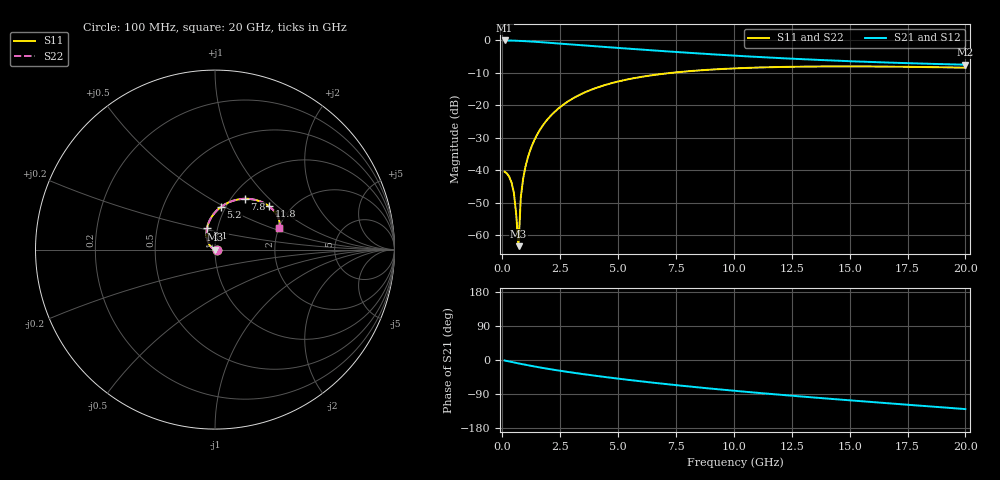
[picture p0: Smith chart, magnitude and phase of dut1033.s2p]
! Touchstone file exported from HFSS 2024.1.0
!  File:  C:/UserFiles/LocalFiles/RDL_TSV_Batchsim/temp_RDL_TSV_1033_1780083924.aedt
!  Generated:  04:00:32 AM May 30, 2026
!  Design:  RDL_TSV
!  Project:  temp_RDL_TSV_1033_1780083924
!  Setup:  Setup1
!  Solution:  Sweep
! Variables:
!  dtsv = 8.5um
!  hbump = 3um
!  htsv = 96.64um
!  ldown = 303.61um
!  lrdl = 112.91um
!  p = 40
!  p1 = 59.9um
!  rhole = 10um
!  subl = 1362.47um
!  t = 450um
!  tdown = 4.18um
!  trdl = 4.81um
!  viad = 10um
!  wdown = 11.86um
!  wrdl = 16.14um
!  xbump = 18um
# GHz S MA R 50.000000
! Terminal data exported
! Port[1] = TM1_1_T1
! Port[2] = TM1_4_T1
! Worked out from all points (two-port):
!   200 points, 100 MHz to 20 GHz, reference 50 ohm
!   highest |S21| = -0.09 dB at 100 MHz (marker M1); lowest = -7.5 dB at 20 GHz (marker M2)
!   |S21| within 3 dB of the highest: start of sweep to 6.391 GHz
!   lowest |S11| = -63.3 dB at 700 MHz (marker M3), VSWR 1.00, Z = 49.9 + j0.0186 ohm
!   |S11| at or under -10 dB: start of sweep to 7.361 GHz
!   |S22| runs from -63.4 to -8.1 dB; largest |S21 - S12| = 8.6e-15
!   S11 on the Smith chart (normalised r, x): 100 MHz: 1.02, -0.00; 3.1 GHz: 0.89, +0.22; 5.2 GHz: 0.95, +0.48; 7.8 GHz: 1.15, +0.73; 11.8 GHz: 1.56, +0.88; 20 GHz: 2.01, +0.56
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0.1  0.009512 -1.9  0.99 -1.3  0.99 -1.3  0.009512 -1.9
! Gamma 0 0 0 0
! Port Impedance 50 0 50 0
0.3  0.007936 -6.6  0.9875 -3.9  0.9875 -3.9  0.007937 -6.6
0.5  0.004515 -12.2  0.9831 -6.5  0.9831 -6.5  0.004517 -12.2
0.6  0.002127 -15.3  0.9803 -7.7  0.9803 -7.7  0.00213 -15.3
0.7  0.0006823 164.2  0.9771 -9.0  0.9771 -9.0  0.0006788 164.2
0.8  0.003886 159.9  0.9735 -10.2  0.9735 -10.2  0.003881 159.9
0.9  0.007457 157.0  0.9696 -11.4  0.9696 -11.4  0.007451 157.1
1  0.01137 154.3  0.9653 -12.6  0.9653 -12.6  0.01136 154.3
1.2  0.02011 149.0  0.9561 -15.0  0.9561 -15.0  0.0201 149.0
1.5  0.0351 141.6  0.9408 -18.3  0.9408 -18.3  0.03508 141.6
1.9  0.05755 132.4  0.919 -22.6  0.919 -22.6  0.05753 132.4
2.4  0.08769 122.1  0.8909 -27.5  0.8909 -27.5  0.08765 122.1
3.1  0.1304 109.6  0.8528 -33.9  0.8528 -33.9  0.1303 109.6
3.5  0.1539 103.4  0.8319 -37.3  0.8319 -37.3  0.1538 103.4
5.2  0.2404 82.0  0.751 -50.6  0.751 -50.6  0.2403 82.0
6.8  0.2999 67.3  0.6848 -61.8  0.6848 -61.8  0.2998 67.2
7.8  0.3275 59.8  0.648 -68.2  0.648 -68.2  0.3274 59.8
10.1  0.3694 46.4  0.5765 -81.7  0.5765 -81.7  0.3693 46.4
11.8  0.386 38.8  0.5343 -90.7  0.5343 -90.7  0.3857 38.8
13.4  0.3936 32.9  0.5018 -98.7  0.5018 -98.7  0.3933 32.9
16.7  0.3924 24.0  0.4523 -114.4  0.4523 -114.4  0.3921 24.0
20  0.3773 18.6  0.4201 -129.5  0.4201 -129.5  0.3769 18.6
